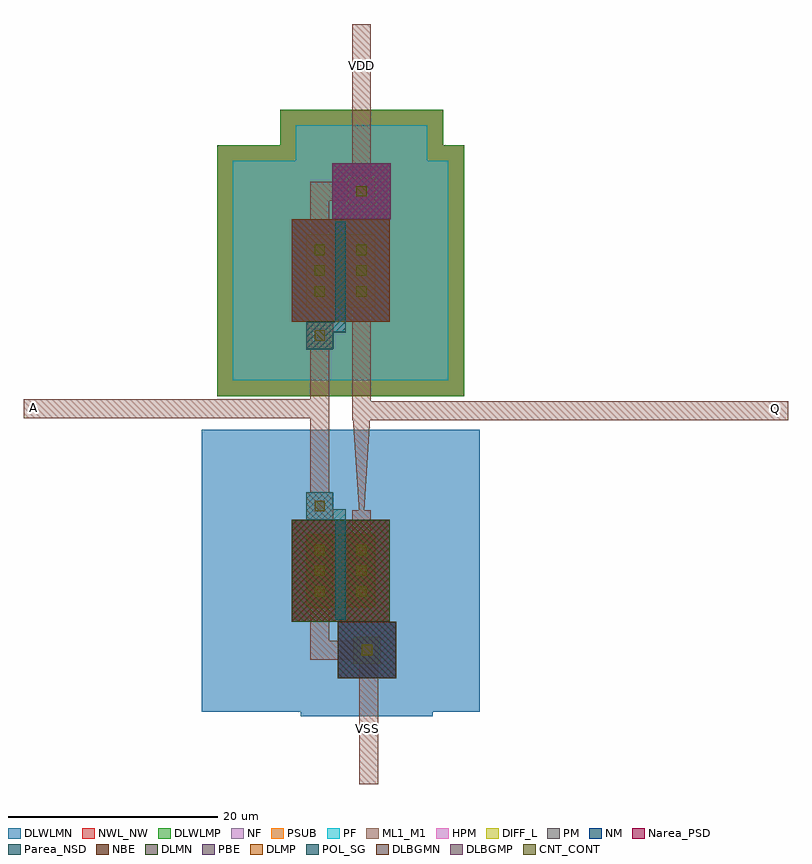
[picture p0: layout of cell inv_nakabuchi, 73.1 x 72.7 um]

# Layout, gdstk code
import gdstk
lib = gdstk.Library(unit=1e-6, precision=1e-07)
def R(c, l, rs):  # rectangles x0, y0, x1, y1
    for r in rs: c.add(gdstk.rectangle(r[:2], r[2:], *l))
DIFF_L = (3, 0)
NM = (7, 0)
POL_SG = (8, 0)
Narea_PSD = (9, 0)
CNT_CONT = (11, 0)
ML1_M1 = (13, 0)
NF = (25, 0)
PF = (26, 0)
Parea_NSD = (28, 0)
HPM = (33, 0)
PM = (35, 0)
NWL_NW = (36, 0)
PSUB = (140, 0)
PBE = (146, 0)
NBE = (147, 0)
DLWLMP = (150, 0)
DLWLMN = (151, 0)
DLMP = (157, 0)
DLMN = (158, 0)
DLBGMP = (177, 0)
DLBGMN = (178, 0)

dcont = lib.new_cell('dcont')
R(dcont, DIFF_L, [(-1.3,-1.3,1.3,1.3)])
R(dcont, CNT_CONT, [(-0.5,-0.5,0.5,0.5)])
R(dcont, ML1_M1, [(-1.3,-1.3,1.3,1.3), (-0.5,-0.5,0.5,0.5)])

pcont = lib.new_cell('pcont')
R(pcont, POL_SG, [(-1.3,-1.3,1.3,1.3)])
R(pcont, CNT_CONT, [(-0.5,-0.5,0.5,0.5)])
R(pcont, ML1_M1, [(-1.3,-1.3,1.3,1.3), (-0.5,-0.5,0.5,0.5)])

c_dcont = lib.new_cell('DCONT')
R(c_dcont, DIFF_L, [(-1.3,-1.3,1.3,1.3)])
R(c_dcont, CNT_CONT, [(-0.5,-0.5,0.5,0.5)])
R(c_dcont, ML1_M1, [(-1.3,-1.3,1.3,1.3), (-0.5,-0.5,0.5,0.5)])

psubcont = lib.new_cell('psubcont')
R(psubcont, NM, [(-2.8,-2.7,2.8,2.7)])
R(psubcont, Parea_NSD, [(-2.8,-2.7,2.8,2.7)])
R(psubcont, HPM, [(-2.8,-2.7,2.8,2.7)])
R(psubcont, PM, [(-2.8,-2.7,2.8,2.7)])
R(psubcont, DLWLMN, [(-6.3,-6.3,6.3,6.3)])
R(psubcont, DLBGMN, [(-2.8,-2.7,2.8,2.7)])
psubcont.add(gdstk.Reference(c_dcont, (0,0)))

c_mn = lib.new_cell('MN')
R(c_mn, DIFF_L, [(0,3.6,6.6,10.6)])
R(c_mn, Narea_PSD, [(-1.4,2.2,8,12)])
R(c_mn, HPM, [(-1.4,2.2,8,12)])
R(c_mn, PM, [(-1.4,2.2,8,12)])
R(c_mn, NBE, [(-1.4,2.2,8,12)])
R(c_mn, DLWLMN, [(-10,-6.4,16.6,20.6)])
R(c_mn, DLMN, [(-1.4,2.2,8,12)])
c_mn.add(gdstk.FlexPath([(1.3,3.6),(1.3,10.6)], 2.6, ends="flush", simple_path=True, layer=13, datatype=0))  # ML1_M1
c_mn.add(gdstk.FlexPath([(5.3,3.6),(5.3,10.6)], 2.6, ends="flush", simple_path=True, layer=13, datatype=0))  # ML1_M1
c_mn.add(gdstk.FlexPath([(1.3,1.3),(1.3,4.6)], 1.8, ends="flush", simple_path=True, layer=13, datatype=0))  # ML1_M1
c_mn.add(gdstk.FlexPath([(5.3,9.6),(5.3,12.9)], 1.8, ends="flush", simple_path=True, layer=13, datatype=0))  # ML1_M1
c_mn.add(gdstk.FlexPath([(3.3,3.6),(3.3,10.6)], 1, ends=(1.2, 1.2), simple_path=True, layer=8, datatype=0))  # POL_SG
c_mn.add(gdstk.FlexPath([(1.3,12.5),(3.3,12.5),(3.3,11.8)], 1, ends="flush", simple_path=True, layer=8, datatype=0))  # POL_SG
c_mn.add(gdstk.Reference(dcont, (1.3,5.1)))
c_mn.add(gdstk.Reference(dcont, (1.3,7.1)))
c_mn.add(gdstk.Reference(dcont, (1.3,9.1)))
c_mn.add(gdstk.Reference(dcont, (5.3,5.1)))
c_mn.add(gdstk.Reference(dcont, (5.3,7.1)))
c_mn.add(gdstk.Reference(dcont, (5.3,9.1)))
c_mn.add(gdstk.Reference(pcont, (1.3,13.3)))
c_mn.add(gdstk.Reference(psubcont, (5.8,-0.5)))

nsubcont = lib.new_cell('nsubcont')
R(nsubcont, NM, [(-2.8,-2.7,2.8,2.7)])
R(nsubcont, Narea_PSD, [(-2.8,-2.7,2.8,2.7)])
R(nsubcont, NF, [(-6.3,-6.3,6.3,6.3)])
R(nsubcont, PF, [(-6.3,-6.3,6.3,6.3)])
R(nsubcont, HPM, [(-2.8,-2.7,2.8,2.7)])
R(nsubcont, PM, [(-2.8,-2.7,2.8,2.7)])
R(nsubcont, NWL_NW, [(-7.8,-7.8,7.8,7.8)])
R(nsubcont, PSUB, [(-6.3,-6.3,6.3,6.3)])
R(nsubcont, DLWLMP, [(-7.8,-7.8,7.8,7.8)])
R(nsubcont, DLBGMP, [(-2.8,-2.7,2.8,2.7)])
nsubcont.add(gdstk.Reference(c_dcont, (0,0)))

c_mp = lib.new_cell('MP')
R(c_mp, DIFF_L, [(0,3.6,6.6,10.6)])
R(c_mp, NM, [(-1.4,2.2,8,12)])
R(c_mp, NF, [(-7,-3.4,13.6,17.6)])
R(c_mp, PF, [(-7,-3.4,13.6,17.6)])
R(c_mp, Parea_NSD, [(-1.4,2.2,8,12)])
R(c_mp, HPM, [(-1.4,2.2,8,12)])
R(c_mp, NWL_NW, [(-8.5,-4.9,15.1,19.1)])
R(c_mp, PSUB, [(-7,-3.4,13.6,17.6)])
R(c_mp, PBE, [(-1.4,2.2,8,12)])
R(c_mp, DLWLMP, [(-8.5,-4.9,15.1,19.1)])
R(c_mp, DLMP, [(-1.4,2.2,8,12)])
c_mp.add(gdstk.FlexPath([(1.3,3.6),(1.3,10.6)], 2.6, ends="flush", simple_path=True, layer=13, datatype=0))  # ML1_M1
c_mp.add(gdstk.FlexPath([(5.3,3.6),(5.3,10.6)], 2.6, ends="flush", simple_path=True, layer=13, datatype=0))  # ML1_M1
c_mp.add(gdstk.FlexPath([(1.3,9.6),(1.3,12.9)], 1.8, ends="flush", simple_path=True, layer=13, datatype=0))  # ML1_M1
c_mp.add(gdstk.FlexPath([(5.3,1.3),(5.3,4.6)], 1.8, ends="flush", simple_path=True, layer=13, datatype=0))  # ML1_M1
c_mp.add(gdstk.FlexPath([(3.3,3.6),(3.3,10.6)], 1, ends=(1.2, 1.2), simple_path=True, layer=8, datatype=0))  # POL_SG
c_mp.add(gdstk.FlexPath([(1.3,1.7),(3.3,1.7),(3.3,2.4)], 1, ends="flush", simple_path=True, layer=8, datatype=0))  # POL_SG
c_mp.add(gdstk.Reference(dcont, (1.3,5.1)))
c_mp.add(gdstk.Reference(dcont, (1.3,7.1)))
c_mp.add(gdstk.Reference(dcont, (1.3,9.1)))
c_mp.add(gdstk.Reference(dcont, (5.3,5.1)))
c_mp.add(gdstk.Reference(dcont, (5.3,7.1)))
c_mp.add(gdstk.Reference(dcont, (5.3,9.1)))
c_mp.add(gdstk.Reference(pcont, (1.3,0.9)))
c_mp.add(gdstk.Reference(nsubcont, (5.3,14.7)))

inv_nakabuchi = lib.new_cell('inv_nakabuchi')
inv_nakabuchi.add(gdstk.FlexPath([(20.1,42.2),(20.1,58.3)], 1.8, ends="flush", simple_path=True, layer=13, datatype=0))  # ML1_M1
inv_nakabuchi.add(gdstk.FlexPath([(20.1,42.3),(16.1,42.3),(16.1,40.4)], 1.8, ends="flush", simple_path=True, layer=13, datatype=0))  # ML1_M1
inv_nakabuchi.add(gdstk.FlexPath([(16.1,0.4),(16.1,-1.6),(20.6,-1.6)], 1.8, ends="flush", simple_path=True, layer=13, datatype=0))  # ML1_M1
inv_nakabuchi.add(gdstk.FlexPath([(20.8,-1.4),(20.8,-14.4)], 1.8, ends="flush", simple_path=True, layer=13, datatype=0))  # ML1_M1
inv_nakabuchi.add(gdstk.FlexPath([(16.1,28.5),(16.1,13.1)], 1.8, ends="flush", simple_path=True, layer=13, datatype=0))  # ML1_M1
inv_nakabuchi.add(gdstk.FlexPath([(16.1,21.5),(-12.2,21.5)], 1.8, ends="flush", simple_path=True, layer=13, datatype=0))  # ML1_M1
inv_nakabuchi.add(gdstk.FlexPath([(19.8,21.3),(60.9,21.3)], 1.8, ends="flush", simple_path=True, layer=13, datatype=0))  # ML1_M1
inv_nakabuchi.add(gdstk.FlexPath([(20.1,29.2),(20.1,21.3),(24.3,21.3)], 1.8, ends="flush", simple_path=True, layer=13, datatype=0))  # ML1_M1
inv_nakabuchi.add(gdstk.FlexPath([(20.1,21.5),(20.1,7.9),(20.1,7.9),(20.1,11.3)], 1.8, ends="flush", simple_path=True, layer=13, datatype=0))  # ML1_M1
inv_nakabuchi.add(gdstk.Reference(c_mn, (14.8,-1.1)))
inv_nakabuchi.add(gdstk.Reference(c_mp, (14.8,27.6)))
inv_nakabuchi.add(gdstk.Label('Q', (59.7,21.5), layer=13, texttype=0))
inv_nakabuchi.add(gdstk.Label('VDD', (20.1,54.3), layer=13, texttype=0))
inv_nakabuchi.add(gdstk.Label('A', (-11.3,21.6), layer=13, texttype=0))
inv_nakabuchi.add(gdstk.Label('VSS', (20.7,-9.1), layer=13, texttype=0))

lib.write_gds('inv_nakabuchi.gds')
